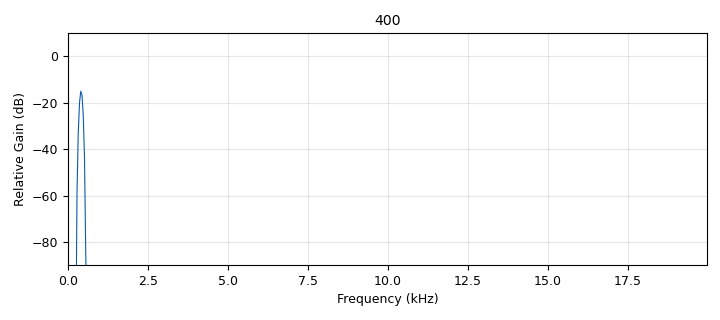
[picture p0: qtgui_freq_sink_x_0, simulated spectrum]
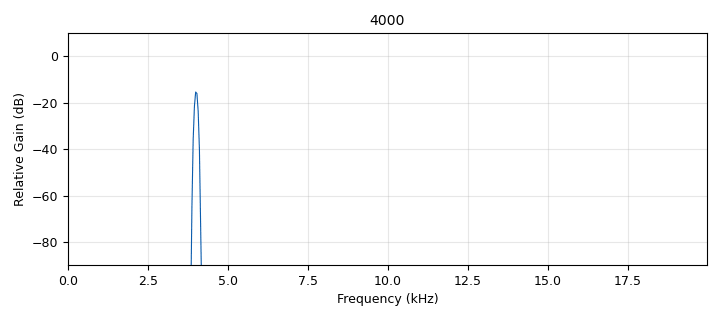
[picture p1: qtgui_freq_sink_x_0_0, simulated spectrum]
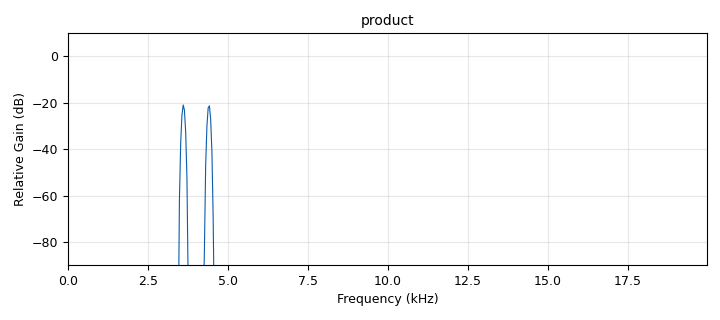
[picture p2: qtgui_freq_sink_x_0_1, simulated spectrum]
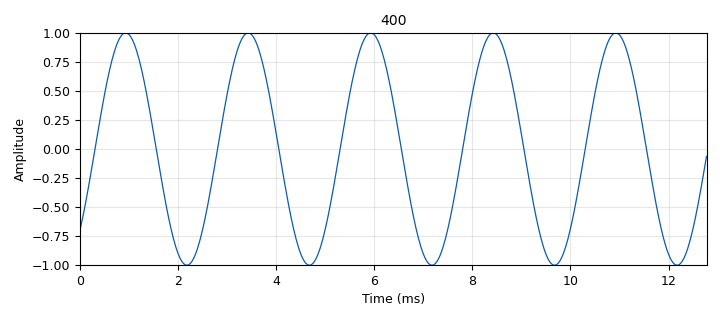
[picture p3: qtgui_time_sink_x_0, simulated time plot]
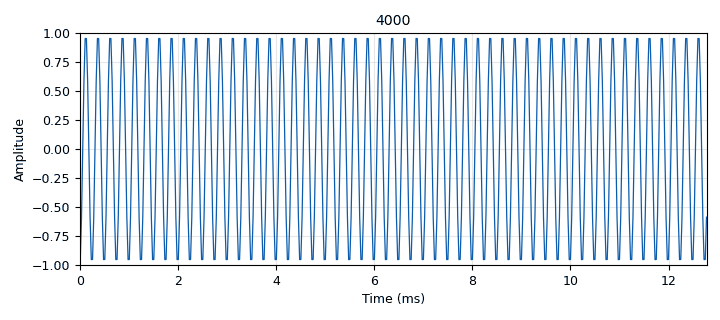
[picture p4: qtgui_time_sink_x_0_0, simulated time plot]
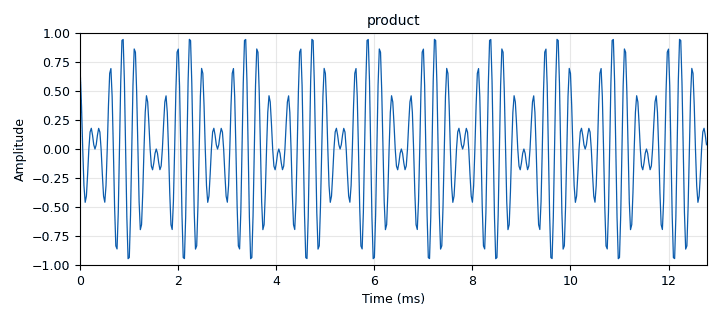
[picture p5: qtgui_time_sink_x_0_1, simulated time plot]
options:
  parameters:
    author: usacys
    generate_options: qt_gui
    id: mixfunmult
    output_language: python
    title: Not titled yet
  states: {}

blocks:
- name: freq1
  id: variable
  parameters:
    value: '400'
  states: {}
- name: freq2
  id: variable
  parameters:
    value: '4000'
  states: {}
- name: samp_rate
  id: variable
  parameters:
    value: '40000'
  states: {}
- name: analog_sig_source_x_0
  id: analog_sig_source_x
  parameters:
    amp: '1'
    freq: freq1
    offset: '0'
    phase: '0'
    samp_rate: samp_rate
    type: float
    waveform: analog.GR_SIN_WAVE
  states: {}
- name: analog_sig_source_x_0_0
  id: analog_sig_source_x
  parameters:
    amp: '1'
    freq: freq2
    offset: '0'
    phase: '0'
    samp_rate: samp_rate
    type: float
    waveform: analog.GR_SIN_WAVE
  states: {}
- name: blocks_multiply_xx_0
  id: blocks_multiply_xx
  parameters:
    type: float
  states: {}
- name: blocks_throttle_0
  id: blocks_throttle
  parameters:
    samples_per_second: samp_rate
    type: float
  states: {}
- name: blocks_throttle_0_0
  id: blocks_throttle
  parameters:
    samples_per_second: samp_rate
    type: float
  states: {}
- name: qtgui_freq_sink_x_0
  id: qtgui_freq_sink_x
  parameters:
    bw: samp_rate
    fc: '0'
    fftsize: '1024'
    freqhalf: 'False'
    gui_hint: 0,1,1,1
    name: str(freq1)
    type: float
    wintype: firdes.WIN_BLACKMAN_hARRIS
    ymin: '-90'
  states: {}
- name: qtgui_freq_sink_x_0_0
  id: qtgui_freq_sink_x
  parameters:
    bw: samp_rate
    fc: '0'
    fftsize: '1024'
    freqhalf: 'False'
    gui_hint: 1,1,1,1
    name: str(freq2)
    type: float
    wintype: firdes.WIN_BLACKMAN_hARRIS
    ymin: '-90'
  states: {}
- name: qtgui_freq_sink_x_0_1
  id: qtgui_freq_sink_x
  parameters:
    bw: samp_rate
    fc: '0'
    fftsize: '1024'
    freqhalf: 'False'
    gui_hint: 2,1,1,1
    name: '"product"'
    type: float
    wintype: firdes.WIN_BLACKMAN_hARRIS
    ymin: '-90'
  states: {}
- name: qtgui_time_sink_x_0
  id: qtgui_time_sink_x
  parameters:
    gui_hint: 0,0,1,1
    name: str(freq1)
    size: '512'
    srate: samp_rate
    type: float
  states: {}
- name: qtgui_time_sink_x_0_0
  id: qtgui_time_sink_x
  parameters:
    gui_hint: 1,0,1,1
    name: str(freq2)
    size: '512'
    srate: samp_rate
    type: float
  states: {}
- name: qtgui_time_sink_x_0_1
  id: qtgui_time_sink_x
  parameters:
    gui_hint: 2,0,1,1
    name: '"product"'
    size: '512'
    srate: samp_rate
    type: float
  states: {}

connections:
- [analog_sig_source_x_0, '0', blocks_throttle_0, '0']
- [analog_sig_source_x_0_0, '0', blocks_throttle_0_0, '0']
- [blocks_multiply_xx_0, '0', qtgui_freq_sink_x_0_1, '0']
- [blocks_multiply_xx_0, '0', qtgui_time_sink_x_0_1, '0']
- [blocks_throttle_0, '0', blocks_multiply_xx_0, '0']
- [blocks_throttle_0, '0', qtgui_freq_sink_x_0, '0']
- [blocks_throttle_0, '0', qtgui_time_sink_x_0, '0']
- [blocks_throttle_0_0, '0', blocks_multiply_xx_0, '1']
- [blocks_throttle_0_0, '0', qtgui_freq_sink_x_0_0, '0']
- [blocks_throttle_0_0, '0', qtgui_time_sink_x_0_0, '0']

metadata:
  file_format: 1
